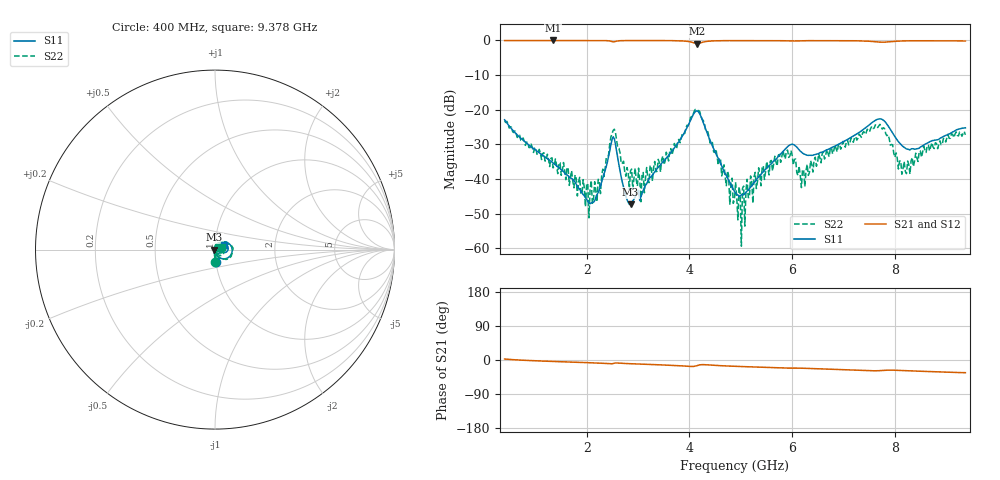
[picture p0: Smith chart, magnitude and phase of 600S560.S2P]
!  American Technical Ceramics  Date:  11/6/2006
!  One Norden Lane
!  Huntington Station,  NY.  11746-2102
!  Tel:  (631) 622-4700  Fax:  (631) 622-4748
!  Part Number  600S560FT  Mounting Orientation: Horizontal
!  Description: Ultra Low ESR Microwave capacitors
!  Application: Coupling, Bypass, Tuning, DC Block
!  Filters, Matching
# GHZ S DB R 50
! Freq  |S11|  S11 Ph  |S21|  S21 Ph  |S12|  S12 Ph  |S22|  S22 Ph
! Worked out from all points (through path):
!   400 points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, 400 MHz to 9.378 GHz, reference 50 ohm
!   highest |S21| = -0.01 dB at 1.345 GHz (marker M1); lowest = -0.9 dB at 4.158 GHz (marker M2)
!   group delay of S21, straight-line fit = 10.2 ps
!   lowest |S11| = -47.3 dB at 2.853 GHz (marker M3), VSWR 1.01, Z = 49.6 - j0.0732 ohm
!   |S11| at or under -10 dB: start of sweep to end of sweep
!   |S22| runs from -59.4 to -19.9 dB; largest |S21 - S12| = 0.0043
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0.4  -22.89 -86.3  -0.03 2.7  -0.02 2.7  -23.27 -89.1
1.345  -35.40 -98.9  -0.01 -3.9  -0.01 -3.9  -36.77 -97.7
1.908  -44.02 -135.6  -0.01 -6.5  0.00 -6.5  -44.19 -41.5
2.2  -44.49 134.7  -0.02 -8.0  -0.01 -8.0  -46.54 19.7
2.515  -27.80 8.4  -0.42 -9.2  -0.41 -9.3  -25.96 -8.0
2.853  -47.31 -170.1  -0.03 -9.8  -0.02 -9.9  -37.63 -17.7
3.01  -43.23 143.4  -0.02 -10.6  -0.01 -10.7  -36.84 0.2
3.055  -45.14 105.8  -0.02 -10.9  -0.01 -10.9  -46.54 19.9
3.393  -36.62 82.1  -0.04 -12.6  -0.03 -12.7  -34.31 43.4
4.158  -20.37 -10.9  -0.90 -14.5  -0.90 -14.6  -20.29 -13.3
4.788  -40.95 -61.7  -0.06 -16.1  -0.05 -16.2  -47.24 -65.7
4.9  -44.05 -40.7  -0.04 -16.7  -0.04 -16.8  -40.90 -28.8
4.945  -44.60 -29.7  -0.05 -16.9  -0.04 -17.0  -51.77 43.2
4.99  -44.93 -16.8  -0.05 -17.1  -0.04 -17.2  -44.26 -34.8
5.013  -44.51 -11.4  -0.04 -17.2  -0.04 -17.4  -59.35 58.7
5.035  -44.51 -7.6  -0.04 -17.3  -0.04 -17.5  -42.65 43.3
5.08  -44.14 4.3  -0.04 -17.6  -0.04 -17.7  -53.56 -8.1
5.125  -43.42 11.1  -0.04 -17.8  -0.04 -17.9  -40.05 31.7
6.408  -33.10 20.8  -0.06 -22.7  -0.06 -22.8  -37.97 79.2
7.893  -25.11 -17.9  -0.40 -26.8  -0.40 -26.9  -28.24 -30.7
8.298  -31.59 6.6  -0.10 -28.7  -0.12 -28.8  -38.56 26.5
9.378  -25.21 25.6  -0.18 -33.5  -0.20 -33.6  -27.24 21.9
